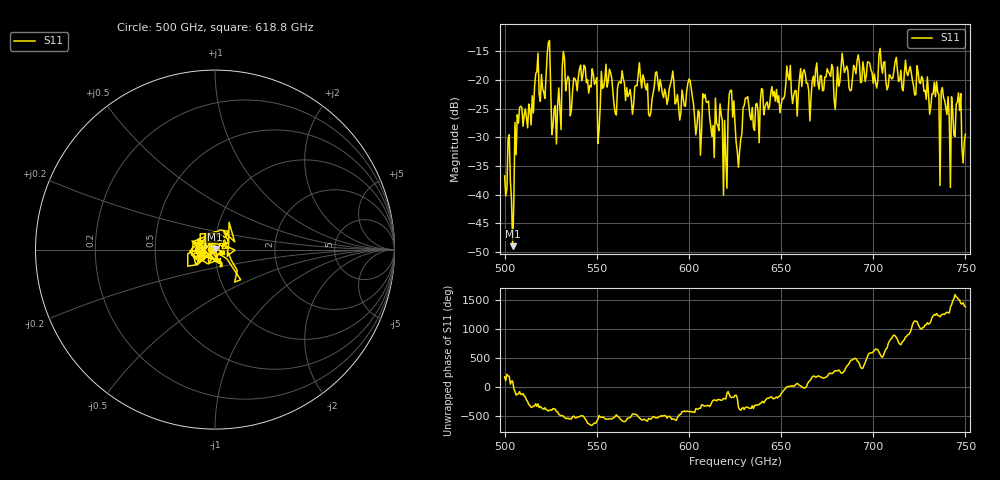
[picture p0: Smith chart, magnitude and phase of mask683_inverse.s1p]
!Created with skrf (http://scikit-rf.org).
# GHz S MA R 50.0
!freq magS11 angS11
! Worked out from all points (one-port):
!   401 points, 500 GHz to 750 GHz, reference 50 ohm
!   lowest |S11| = -49.0 dB at 504.4 GHz (marker M1), VSWR 1.01, Z = 49.9 + j0.35 ohm
!   |S11| at or under -10 dB: start of sweep to end of sweep
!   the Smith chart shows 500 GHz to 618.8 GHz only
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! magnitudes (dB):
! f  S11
! 500 GHz  -36.7
! 504.4 GHz  -49.0
! 508.1 GHz  -24.8
! 523.8 GHz  -13.5
! 526.9 GHz  -25.1
! 531.2 GHz  -17.8
! 548.8 GHz  -20.8
! 551.9 GHz  -24.7
! 553.8 GHz  -21.2
! 562.5 GHz  -20.3
! 593.8 GHz  -22.5
! 600.6 GHz  -20.1
! 605 GHz  -25.4
! 608.8 GHz  -22.5
! 612.5 GHz  -29.9
! 616.9 GHz  -24.2
! 619.4 GHz  -27.1
! 622.5 GHz  -21.8
! 625 GHz  -27.6
! 626.9 GHz  -35.2
! 630.6 GHz  -23.2
! 656.2 GHz  -24.1
! 687.5 GHz  -21.9
! 718.8 GHz  -19.3
! 738.1 GHz  -23.1
! 743.1 GHz  -25.5
! 746.2 GHz  -22.3
! 750 GHz  -29.5
